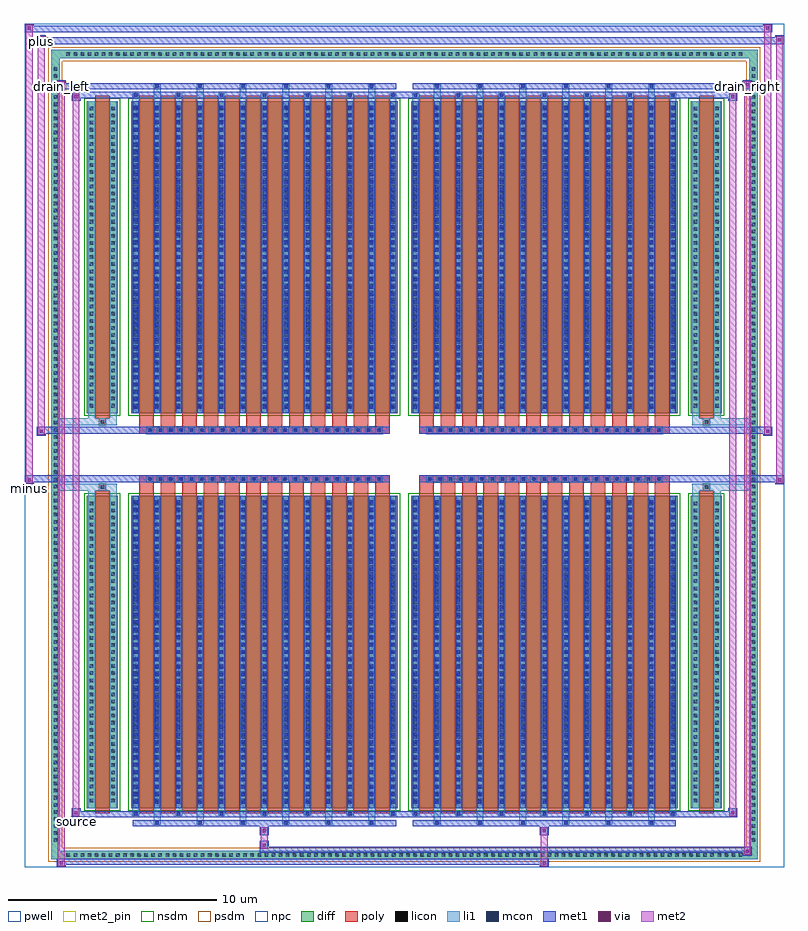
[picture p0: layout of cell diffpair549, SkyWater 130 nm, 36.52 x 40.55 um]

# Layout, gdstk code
import gdstk
lib = gdstk.Library(unit=1e-6, precision=5e-09)
def R(c, l, rs):  # rectangles x0, y0, x1, y1
    for r in rs: c.add(gdstk.rectangle(r[:2], r[2:], *l))
def A(c, l, x, y, w, h, nx, ny, dx, dy):  # array of equal rectangles
    R(c, l, [(x+i*dx, y+j*dy, x+i*dx+w, y+j*dy+h) for i in range(nx) for j in range(ny)])
def P(c, l, *ps):  # polygons
    for p in ps: c.add(gdstk.Polygon(p, *l))
pwell = (64, 44)
diff = (65, 20)
poly = (66, 20)
licon = (66, 44)
li1 = (67, 20)
mcon = (67, 44)
met1 = (68, 20)
via = (68, 44)
met2_pin = (69, 16)
met2 = (69, 20)
nsdm = (93, 44)
psdm = (94, 20)
npc = (95, 20)

diffpair549 = lib.new_cell('diffpair549')
R(diffpair549, pwell, [(-18.24,-19.84,18.24,20.71), (-15.56,-18.03,-0.01,-0.805), (0.01,-18.03,15.56,-0.805), (-15.56,0.805,-0.01,18.03), (0.01,0.805,15.56,18.03)])
A(diffpair549, diff, -16.355, -19.44, 0.41, 0.41, 96, 2, 0.34, 38.47)
A(diffpair549, diff, -16.97, -18.735, 0.41, 0.41, 1, 110, 0, 0.34)
A(diffpair549, diff, 16.56, -18.735, 0.41, 0.41, 1, 110, 0, 0.34)
R(diffpair549, diff, [(-16.355,-19.44,16.355,-19.03), (-16.97,-18.735,-16.56,18.735), (16.56,-18.735,16.97,18.735), (-15.25,-16.985,-13.77,-1.985), (-13.13,-16.985,-0.32,-1.985), (0.32,-16.985,13.13,-1.985), (13.77,-16.985,15.25,-1.985), (-15.25,1.985,-13.77,16.985), (-13.13,1.985,-0.32,16.985), (0.32,1.985,13.13,16.985), (13.77,1.985,15.25,16.985), (-16.355,19.03,16.355,19.44)])
P(diffpair549, diff, [(16.97,19.44),(-16.97,19.44),(-16.97,-19.03),(-16.56,-19.03),(-16.56,19.03),(16.56,19.03),(16.56,-19.03),(-16.56,-19.03),(-16.97,-19.03),(-16.97,-19.44),(16.97,-19.44)])
A(diffpair549, poly, -12.74, -17.235, 0.7, 15.5, 12, 2, 1.03, 18.97)
A(diffpair549, poly, 0.71, -17.235, 0.7, 15.5, 12, 2, 1.03, 18.97)
A(diffpair549, poly, -12.74, -1.735, 0.7, 0.4, 12, 2, 1.03, 3.07)
A(diffpair549, poly, 0.71, -1.735, 0.7, 0.4, 12, 2, 1.03, 3.07)
A(diffpair549, poly, -12.39, -1.335, 0.33, 0.33, 23, 2, 0.5, 2.34)
A(diffpair549, poly, 1.06, -1.335, 0.33, 0.33, 23, 2, 0.5, 2.34)
R(diffpair549, poly, [(-14.86,-17.235,-14.16,-1.735), (14.16,-17.235,14.86,-1.735), (-14.675,-1.735,-14.345,-1.405), (-14.675,-1.735,-14.345,-1.405), (14.345,-1.735,14.675,-1.405), (14.345,-1.735,14.675,-1.405), (-12.74,-1.335,-0.71,-1.005), (0.71,-1.335,12.74,-1.005), (-12.74,1.005,-0.71,1.335), (0.71,1.005,12.74,1.335), (-14.675,1.405,-14.345,1.735), (-14.675,1.405,-14.345,1.735), (14.345,1.405,14.675,1.735), (14.345,1.405,14.675,1.735), (-14.86,1.735,-14.16,17.235), (14.16,1.735,14.86,17.235)])
A(diffpair549, licon, -16.235, -19.32, 0.17, 0.17, 96, 2, 0.34, 38.47)
A(diffpair549, licon, -16.85, -18.615, 0.17, 0.17, 1, 110, 0, 0.34)
A(diffpair549, licon, 16.68, -18.615, 0.17, 0.17, 1, 110, 0, 0.34)
A(diffpair549, licon, -15.11, -16.71, 0.17, 0.17, 1, 43, 0, 0.34)
A(diffpair549, licon, -14.08, -16.71, 0.17, 0.17, 1, 43, 0, 0.34)
A(diffpair549, licon, -12.99, -16.71, 0.17, 0.17, 13, 43, 1.03, 0.34)
A(diffpair549, licon, 0.46, -16.71, 0.17, 0.17, 13, 43, 1.03, 0.34)
A(diffpair549, licon, 13.91, -16.71, 0.17, 0.17, 1, 43, 0, 0.34)
A(diffpair549, licon, 14.94, -16.71, 0.17, 0.17, 1, 43, 0, 0.34)
A(diffpair549, licon, -12.31, -1.255, 0.17, 0.17, 23, 2, 0.5, 2.34)
A(diffpair549, licon, 1.14, -1.255, 0.17, 0.17, 23, 2, 0.5, 2.34)
A(diffpair549, licon, -15.11, 2.26, 0.17, 0.17, 1, 43, 0, 0.34)
A(diffpair549, licon, -14.08, 2.26, 0.17, 0.17, 1, 43, 0, 0.34)
A(diffpair549, licon, -12.99, 2.26, 0.17, 0.17, 13, 43, 1.03, 0.34)
A(diffpair549, licon, 0.46, 2.26, 0.17, 0.17, 13, 43, 1.03, 0.34)
A(diffpair549, licon, 13.91, 2.26, 0.17, 0.17, 1, 43, 0, 0.34)
A(diffpair549, licon, 14.94, 2.26, 0.17, 0.17, 1, 43, 0, 0.34)
R(diffpair549, licon, [(-14.595,-1.655,-14.425,-1.485), (14.425,-1.655,14.595,-1.485), (-14.595,1.485,-14.425,1.655), (14.425,1.485,14.595,1.655)])
A(diffpair549, li1, -16.315, -19.4, 0.33, 0.33, 96, 2, 0.34, 38.47)
A(diffpair549, li1, -16.93, -18.695, 0.33, 0.33, 1, 110, 0, 0.34)
A(diffpair549, li1, 16.6, -18.695, 0.33, 0.33, 1, 110, 0, 0.34)
A(diffpair549, li1, -12.04, -17.79, 0.33, 0.805, 6, 2, 2.06, 34.775)
A(diffpair549, li1, -11.96, -17.79, 0.17, 0.17, 6, 2, 2.06, 35.41)
A(diffpair549, li1, 1.41, -17.79, 0.33, 0.805, 6, 2, 2.06, 34.775)
A(diffpair549, li1, 1.49, -17.79, 0.17, 0.17, 6, 2, 2.06, 35.41)
A(diffpair549, li1, -13.07, -17.36, 0.33, 0.375, 7, 2, 2.06, 34.345)
A(diffpair549, li1, -12.99, -17.36, 0.17, 0.17, 7, 2, 2.06, 34.55)
A(diffpair549, li1, 0.38, -17.36, 0.33, 0.375, 7, 2, 2.06, 34.345)
A(diffpair549, li1, 0.46, -17.36, 0.17, 0.17, 7, 2, 2.06, 34.55)
A(diffpair549, li1, -13.07, -16.985, 0.33, 15, 13, 2, 1.03, 18.97)
A(diffpair549, li1, 0.38, -16.985, 0.33, 15, 13, 2, 1.03, 18.97)
A(diffpair549, li1, -15.19, -16.79, 0.33, 0.33, 1, 43, 0, 0.34)
A(diffpair549, li1, -14.16, -16.79, 0.33, 0.33, 1, 43, 0, 0.34)
A(diffpair549, li1, -13.07, -16.79, 0.33, 0.33, 13, 43, 1.03, 0.34)
A(diffpair549, li1, 0.38, -16.79, 0.33, 0.33, 13, 43, 1.03, 0.34)
A(diffpair549, li1, 13.83, -16.79, 0.33, 0.33, 1, 43, 0, 0.34)
A(diffpair549, li1, 14.86, -16.79, 0.33, 0.33, 1, 43, 0, 0.34)
A(diffpair549, li1, -12.99, -16.77, 0.17, 0.17, 13, 41, 1.03, 0.36)
A(diffpair549, li1, -12.99, -16.77, 0.17, 14.57, 13, 2, 1.03, 18.97)
A(diffpair549, li1, 0.46, -16.77, 0.17, 0.17, 13, 41, 1.03, 0.36)
A(diffpair549, li1, 0.46, -16.77, 0.17, 14.57, 13, 2, 1.03, 18.97)
A(diffpair549, li1, -12.39, -1.335, 0.33, 0.33, 23, 2, 0.5, 2.34)
A(diffpair549, li1, 1.06, -1.335, 0.33, 0.33, 23, 2, 0.5, 2.34)
A(diffpair549, li1, -15.19, 2.18, 0.33, 0.33, 1, 43, 0, 0.34)
A(diffpair549, li1, -14.16, 2.18, 0.33, 0.33, 1, 43, 0, 0.34)
A(diffpair549, li1, -13.07, 2.18, 0.33, 0.33, 13, 43, 1.03, 0.34)
A(diffpair549, li1, 0.38, 2.18, 0.33, 0.33, 13, 43, 1.03, 0.34)
A(diffpair549, li1, 13.83, 2.18, 0.33, 0.33, 1, 43, 0, 0.34)
A(diffpair549, li1, 14.86, 2.18, 0.33, 0.33, 1, 43, 0, 0.34)
A(diffpair549, li1, -12.99, 2.2, 0.17, 0.17, 13, 41, 1.03, 0.36)
A(diffpair549, li1, 0.46, 2.2, 0.17, 0.17, 13, 41, 1.03, 0.36)
R(diffpair549, li1, [(-16.97,-19.44,-16.56,-19.03), (-16.97,-19.44,-16.56,-19.03), (-16.56,-19.44,16.56,-19.03), (16.56,-19.44,16.97,-19.03), (16.56,-19.44,16.97,-19.03), (-16.97,-19.03,-16.56,19.03), (16.56,-19.03,16.97,19.03), (-15.19,-16.985,-14.86,-1.985), (-14.16,-16.985,-13.83,-1.985), (13.83,-16.985,14.16,-1.985), (14.86,-16.985,15.19,-1.985), (-15.19,-1.985,-14.86,-1.405), (-14.16,-1.985,-13.83,-1.405), (13.83,-1.985,14.16,-1.405), (14.86,-1.985,15.19,-1.405), (-16.97,-1.735,-14.675,-1.405), (-15.19,-1.735,-14.675,-1.405), (-14.675,-1.735,-14.345,-1.405), (-14.345,-1.735,-13.83,-1.405), (13.83,-1.735,14.345,-1.405), (14.345,-1.735,14.675,-1.405), (14.345,-1.735,16.97,-1.405), (14.675,-1.735,15.19,-1.405), (-16.97,1.405,-14.675,1.735), (-15.19,1.405,-14.675,1.735), (-15.19,1.405,-14.86,1.985), (-14.675,1.405,-14.345,1.735), (-14.345,1.405,-13.83,1.735), (-14.16,1.405,-13.83,1.985), (13.83,1.405,14.345,1.735), (13.83,1.405,14.16,1.985), (14.345,1.405,14.675,1.735), (14.345,1.405,16.97,1.735), (14.675,1.405,15.19,1.735), (14.86,1.405,15.19,1.985), (-15.19,1.985,-14.86,16.985), (-14.16,1.985,-13.83,16.985), (13.83,1.985,14.16,16.985), (14.86,1.985,15.19,16.985), (-16.97,19.03,-16.56,19.44), (-16.97,19.03,-16.56,19.44), (-16.56,19.03,16.56,19.44), (16.56,19.03,16.97,19.44), (16.56,19.03,16.97,19.44)])
A(diffpair549, mcon, -11.96, -17.79, 0.17, 0.17, 6, 2, 2.06, 35.41)
A(diffpair549, mcon, 1.49, -17.79, 0.17, 0.17, 6, 2, 2.06, 35.41)
A(diffpair549, mcon, -12.99, -17.36, 0.17, 0.17, 7, 2, 2.06, 34.55)
A(diffpair549, mcon, 0.46, -17.36, 0.17, 0.17, 7, 2, 2.06, 34.55)
A(diffpair549, mcon, -12.99, -16.77, 0.17, 0.17, 13, 41, 1.03, 0.36)
A(diffpair549, mcon, 0.46, -16.77, 0.17, 0.17, 13, 41, 1.03, 0.36)
A(diffpair549, mcon, -12.31, -1.255, 0.17, 0.17, 23, 2, 0.5, 2.34)
A(diffpair549, mcon, 1.14, -1.255, 0.17, 0.17, 23, 2, 0.5, 2.34)
A(diffpair549, mcon, -12.99, 2.2, 0.17, 0.17, 13, 41, 1.03, 0.36)
A(diffpair549, mcon, 0.46, 2.2, 0.17, 0.17, 13, 41, 1.03, 0.36)
A(diffpair549, met1, -12.02, -17.85, 0.29, 0.29, 6, 2, 2.06, 35.41)
A(diffpair549, met1, 1.43, -17.85, 0.29, 0.29, 6, 2, 2.06, 35.41)
A(diffpair549, met1, -13.05, -17.42, 0.29, 0.29, 7, 2, 2.06, 34.55)
A(diffpair549, met1, 0.4, -17.42, 0.29, 0.29, 7, 2, 2.06, 34.55)
A(diffpair549, met1, -13.05, -16.985, 0.29, 15, 13, 2, 1.03, 18.97)
A(diffpair549, met1, 0.4, -16.985, 0.29, 15, 13, 2, 1.03, 18.97)
A(diffpair549, met1, -13.05, -16.83, 0.29, 0.29, 13, 41, 1.03, 0.36)
A(diffpair549, met1, 0.4, -16.83, 0.29, 0.29, 13, 41, 1.03, 0.36)
A(diffpair549, met1, -12.37, -1.315, 0.29, 0.29, 23, 2, 0.5, 2.34)
A(diffpair549, met1, 1.08, -1.315, 0.29, 0.29, 23, 2, 0.5, 2.34)
A(diffpair549, met1, -13.05, 2.14, 0.29, 0.29, 13, 41, 1.03, 0.36)
A(diffpair549, met1, 0.4, 2.14, 0.29, 0.29, 13, 41, 1.03, 0.36)
R(diffpair549, met1, [(-16.7,-19.84,-16.27,-19.41), (6.51,-19.84,6.94,-19.41), (-16.7,-19.7,6.94,-19.41), (16.27,-19.27,16.7,-18.84), (-6.94,-19.13,16.7,-18.84), (-6.94,-18.99,-6.51,-18.56), (-6.94,-18.28,-6.51,-17.85), (6.51,-18.28,6.94,-17.85), (-13.05,-17.85,-0.4,-17.56), (0.4,-17.85,13.05,-17.56), (-15.99,-17.42,-15.56,-16.99), (-15.99,-17.42,-13.05,-17.13), (-13.05,-17.42,-0.4,-17.13), (-0.4,-17.42,0.4,-17.13), (0.4,-17.42,13.05,-17.13), (13.05,-17.42,15.99,-17.13), (15.56,-17.42,15.99,-16.99), (-18.24,-1.435,-17.81,-1.005), (17.81,-1.435,18.24,-1.005), (-18.24,-1.335,-0.71,-1.005), (-12.74,-1.335,-0.71,-1.005), (0.71,-1.335,12.74,-1.005), (0.71,-1.335,18.24,-1.005), (-17.67,0.905,-17.24,1.335), (17.24,0.905,17.67,1.335), (-17.67,1.005,-12.74,1.335), (-12.74,1.005,-0.71,1.335), (0.71,1.005,12.74,1.335), (12.74,1.005,17.67,1.335), (-15.99,16.99,-15.56,17.42), (15.56,16.99,15.99,17.42), (-15.99,17.13,-13.05,17.42), (-13.05,17.13,-0.4,17.42), (-0.4,17.13,0.4,17.42), (0.4,17.13,13.05,17.42), (13.05,17.13,15.99,17.42), (-16.7,17.56,-16.27,17.99), (-16.7,17.56,-13.05,17.85), (-13.05,17.56,-0.4,17.85), (0.4,17.56,13.05,17.85), (13.05,17.56,16.7,17.85), (16.27,17.56,16.7,17.99), (-17.67,19.71,-17.24,20.14), (-17.67,19.71,-15.56,20.04), (-15.56,19.71,15.56,20.04), (15.56,19.71,18.24,20.04), (17.81,19.71,18.24,20.14), (-18.24,20.28,-17.81,20.71), (-18.24,20.28,-15.56,20.61), (-15.56,20.28,15.56,20.61), (15.56,20.28,17.67,20.61), (17.24,20.28,17.67,20.71)])
R(diffpair549, via, [(-16.56,-19.7,-16.41,-19.55), (6.65,-19.7,6.8,-19.55), (16.41,-19.13,16.56,-18.98), (-6.8,-18.85,-6.65,-18.7), (-6.8,-18.14,-6.65,-17.99), (6.65,-18.14,6.8,-17.99), (-15.85,-17.28,-15.7,-17.13), (15.7,-17.28,15.85,-17.13), (-18.1,-1.295,-17.95,-1.145), (17.95,-1.295,18.1,-1.145), (-17.53,1.045,-17.38,1.195), (17.38,1.045,17.53,1.195), (-15.85,17.13,-15.7,17.28), (15.7,17.13,15.85,17.28), (-16.56,17.7,-16.41,17.85), (16.41,17.7,16.56,17.85), (-17.53,19.85,-17.38,20), (17.95,19.85,18.1,20), (-18.1,20.42,-17.95,20.57), (17.38,20.42,17.53,20.57)])
R(diffpair549, met2_pin, [(-16.025,-17.87,-15.525,-17.37), (-18.275,-1.885,-17.775,-1.385), (-16.735,17.44,-16.235,17.94), (16.235,17.44,16.735,17.94), (-17.705,19.59,-17.205,20.09)])
R(diffpair549, met2, [(-16.65,-19.79,-16.32,-19.46), (-16.65,-19.79,-16.32,17.94), (6.56,-19.79,6.89,-19.46), (6.56,-19.46,6.89,-18.23), (16.32,-19.22,16.65,-18.89), (16.32,-19.22,16.65,17.94), (-6.89,-18.94,-6.56,-18.61), (-6.89,-18.61,-6.56,-18.23), (-6.89,-18.23,-6.56,-17.9), (6.56,-18.23,6.89,-17.9), (-15.94,-17.37,-15.61,-17.04), (-15.94,-17.37,-15.61,17.37), (15.61,-17.37,15.94,-17.04), (15.61,-17.37,15.94,17.37), (-18.19,-1.385,-17.86,-1.055), (-18.19,-1.385,-17.86,20.66), (17.86,-1.385,18.19,-1.055), (17.86,-1.385,18.19,20.09), (-17.62,0.955,-17.29,1.285), (-17.62,0.955,-17.29,20.09), (17.29,0.955,17.62,1.285), (17.29,0.955,17.62,20.66), (-15.94,17.04,-15.61,17.37), (15.61,17.04,15.94,17.37), (-16.65,17.61,-16.32,17.94), (16.32,17.61,16.65,17.94), (-17.62,19.76,-17.29,20.09), (17.86,19.76,18.19,20.09), (-18.19,20.33,-17.86,20.66), (17.29,20.33,17.62,20.66)])
P(diffpair549, met2, [(18.19,-1.385),(18.19,-1.385),(18.19,-1.055),(18.19,-1.055)],
  [(18.19,19.76),(18.19,19.76),(18.19,20.09),(18.19,20.09)],
  [(-17.86,-1.385),(-17.86,-1.385),(-17.86,-1.055),(-17.86,-1.055)],
  [(-17.86,20.33),(-17.86,20.33),(-17.86,20.66),(-17.86,20.66)],
  [(17.62,0.955),(17.62,0.955),(17.62,1.285),(17.62,1.285)],
  [(17.62,20.33),(17.62,20.33),(17.62,20.66),(17.62,20.66)],
  [(-17.29,0.955),(-17.29,0.955),(-17.29,1.285),(-17.29,1.285)],
  [(-17.29,19.76),(-17.29,19.76),(-17.29,20.09),(-17.29,20.09)],
  [(-16.32,-19.79),(-16.32,-19.79),(-16.32,-19.46),(-16.32,-19.46)],
  [(-16.32,17.61),(-16.32,17.61),(-16.32,17.94),(-16.32,17.94)],
  [(16.65,-19.22),(16.65,-19.22),(16.65,-18.89),(16.65,-18.89)],
  [(16.65,17.61),(16.65,17.61),(16.65,17.94),(16.65,17.94)],
  [(-15.61,-17.37),(-15.61,-17.37),(-15.61,-17.04),(-15.61,-17.04)],
  [(-15.61,17.04),(-15.61,17.04),(-15.61,17.37),(-15.61,17.37)],
  [(15.94,-17.37),(15.94,-17.37),(15.94,-17.04),(15.94,-17.04)],
  [(15.94,17.04),(15.94,17.04),(15.94,17.37),(15.94,17.37)])
R(diffpair549, nsdm, [(-15.38,-17.115,-13.64,-1.855), (-13.26,-17.115,-0.19,-1.855), (0.19,-17.115,13.26,-1.855), (13.64,-17.115,15.38,-1.855), (-15.38,1.855,-13.64,17.115), (-13.26,1.855,-0.19,17.115), (0.19,1.855,13.26,17.115), (13.64,1.855,15.38,17.115)])
P(diffpair549, psdm, [(17.1,19.57),(-17.1,19.57),(-17.1,-18.9),(-16.43,-18.9),(-16.43,18.9),(16.43,18.9),(16.43,-18.9),(-16.43,-18.9),(-17.1,-18.9),(-17.1,-19.57),(17.1,-19.57)])
A(diffpair549, npc, -12.41, -1.355, 0.37, 0.37, 23, 2, 0.5, 2.34)
A(diffpair549, npc, 1.04, -1.355, 0.37, 0.37, 23, 2, 0.5, 2.34)
R(diffpair549, npc, [(-14.695,-1.755,-14.325,-1.385), (14.325,-1.755,14.695,-1.385), (-12.41,-1.355,-11.54,-0.985), (-12.41,-1.355,-11.54,-0.985), (-11.91,-1.355,-11.04,-0.985), (-11.91,-1.355,-11.04,-0.985), (-11.41,-1.355,-10.54,-0.985), (-11.41,-1.355,-10.54,-0.985), (-10.91,-1.355,-10.04,-0.985), (-10.91,-1.355,-10.04,-0.985), (-10.41,-1.355,-9.54,-0.985), (-10.41,-1.355,-9.54,-0.985), (-9.91,-1.355,-9.04,-0.985), (-9.91,-1.355,-9.04,-0.985), (-9.41,-1.355,-8.54,-0.985), (-9.41,-1.355,-8.54,-0.985), (-8.91,-1.355,-8.04,-0.985), (-8.91,-1.355,-8.04,-0.985), (-8.41,-1.355,-7.54,-0.985), (-8.41,-1.355,-7.54,-0.985), (-7.91,-1.355,-7.04,-0.985), (-7.91,-1.355,-7.04,-0.985), (-7.41,-1.355,-6.54,-0.985), (-7.41,-1.355,-6.54,-0.985), (-6.91,-1.355,-6.04,-0.985), (-6.91,-1.355,-6.04,-0.985), (-6.41,-1.355,-5.54,-0.985), (-6.41,-1.355,-5.54,-0.985), (-5.91,-1.355,-5.04,-0.985), (-5.91,-1.355,-5.04,-0.985), (-5.41,-1.355,-4.54,-0.985), (-5.41,-1.355,-4.54,-0.985), (-4.91,-1.355,-4.04,-0.985), (-4.91,-1.355,-4.04,-0.985), (-4.41,-1.355,-3.54,-0.985), (-4.41,-1.355,-3.54,-0.985), (-3.91,-1.355,-3.04,-0.985), (-3.91,-1.355,-3.04,-0.985), (-3.41,-1.355,-2.54,-0.985), (-3.41,-1.355,-2.54,-0.985), (-2.91,-1.355,-2.04,-0.985), (-2.91,-1.355,-2.04,-0.985), (-2.41,-1.355,-1.54,-0.985), (-2.41,-1.355,-1.54,-0.985), (-1.91,-1.355,-1.04,-0.985), (-1.91,-1.355,-1.04,-0.985), (1.04,-1.355,1.91,-0.985), (1.04,-1.355,1.91,-0.985), (1.54,-1.355,2.41,-0.985), (1.54,-1.355,2.41,-0.985), (2.04,-1.355,2.91,-0.985), (2.04,-1.355,2.91,-0.985), (2.54,-1.355,3.41,-0.985), (2.54,-1.355,3.41,-0.985), (3.04,-1.355,3.91,-0.985), (3.04,-1.355,3.91,-0.985), (3.54,-1.355,4.41,-0.985), (3.54,-1.355,4.41,-0.985), (4.04,-1.355,4.91,-0.985), (4.04,-1.355,4.91,-0.985), (4.54,-1.355,5.41,-0.985), (4.54,-1.355,5.41,-0.985), (5.04,-1.355,5.91,-0.985), (5.04,-1.355,5.91,-0.985), (5.54,-1.355,6.41,-0.985), (5.54,-1.355,6.41,-0.985), (6.04,-1.355,6.91,-0.985), (6.04,-1.355,6.91,-0.985), (6.54,-1.355,7.41,-0.985), (6.54,-1.355,7.41,-0.985), (7.04,-1.355,7.91,-0.985), (7.04,-1.355,7.91,-0.985), (7.54,-1.355,8.41,-0.985), (7.54,-1.355,8.41,-0.985), (8.04,-1.355,8.91,-0.985), (8.04,-1.355,8.91,-0.985), (8.54,-1.355,9.41,-0.985), (8.54,-1.355,9.41,-0.985), (9.04,-1.355,9.91,-0.985), (9.04,-1.355,9.91,-0.985), (9.54,-1.355,10.41,-0.985), (9.54,-1.355,10.41,-0.985), (10.04,-1.355,10.91,-0.985), (10.04,-1.355,10.91,-0.985), (10.54,-1.355,11.41,-0.985), (10.54,-1.355,11.41,-0.985), (11.04,-1.355,11.91,-0.985), (11.04,-1.355,11.91,-0.985), (11.54,-1.355,12.41,-0.985), (11.54,-1.355,12.41,-0.985), (-12.41,0.985,-11.54,1.355), (-12.41,0.985,-11.54,1.355), (-11.91,0.985,-11.04,1.355), (-11.91,0.985,-11.04,1.355), (-11.41,0.985,-10.54,1.355), (-11.41,0.985,-10.54,1.355), (-10.91,0.985,-10.04,1.355), (-10.91,0.985,-10.04,1.355), (-10.41,0.985,-9.54,1.355), (-10.41,0.985,-9.54,1.355), (-9.91,0.985,-9.04,1.355), (-9.91,0.985,-9.04,1.355), (-9.41,0.985,-8.54,1.355), (-9.41,0.985,-8.54,1.355), (-8.91,0.985,-8.04,1.355), (-8.91,0.985,-8.04,1.355), (-8.41,0.985,-7.54,1.355), (-8.41,0.985,-7.54,1.355), (-7.91,0.985,-7.04,1.355), (-7.91,0.985,-7.04,1.355), (-7.41,0.985,-6.54,1.355), (-7.41,0.985,-6.54,1.355), (-6.91,0.985,-6.04,1.355), (-6.91,0.985,-6.04,1.355), (-6.41,0.985,-5.54,1.355), (-6.41,0.985,-5.54,1.355), (-5.91,0.985,-5.04,1.355), (-5.91,0.985,-5.04,1.355), (-5.41,0.985,-4.54,1.355), (-5.41,0.985,-4.54,1.355), (-4.91,0.985,-4.04,1.355), (-4.91,0.985,-4.04,1.355), (-4.41,0.985,-3.54,1.355), (-4.41,0.985,-3.54,1.355), (-3.91,0.985,-3.04,1.355), (-3.91,0.985,-3.04,1.355), (-3.41,0.985,-2.54,1.355), (-3.41,0.985,-2.54,1.355), (-2.91,0.985,-2.04,1.355), (-2.91,0.985,-2.04,1.355), (-2.41,0.985,-1.54,1.355), (-2.41,0.985,-1.54,1.355), (-1.91,0.985,-1.04,1.355), (-1.91,0.985,-1.04,1.355), (1.04,0.985,1.91,1.355), (1.04,0.985,1.91,1.355), (1.54,0.985,2.41,1.355), (1.54,0.985,2.41,1.355), (2.04,0.985,2.91,1.355), (2.04,0.985,2.91,1.355), (2.54,0.985,3.41,1.355), (2.54,0.985,3.41,1.355), (3.04,0.985,3.91,1.355), (3.04,0.985,3.91,1.355), (3.54,0.985,4.41,1.355), (3.54,0.985,4.41,1.355), (4.04,0.985,4.91,1.355), (4.04,0.985,4.91,1.355), (4.54,0.985,5.41,1.355), (4.54,0.985,5.41,1.355), (5.04,0.985,5.91,1.355), (5.04,0.985,5.91,1.355), (5.54,0.985,6.41,1.355), (5.54,0.985,6.41,1.355), (6.04,0.985,6.91,1.355), (6.04,0.985,6.91,1.355), (6.54,0.985,7.41,1.355), (6.54,0.985,7.41,1.355), (7.04,0.985,7.91,1.355), (7.04,0.985,7.91,1.355), (7.54,0.985,8.41,1.355), (7.54,0.985,8.41,1.355), (8.04,0.985,8.91,1.355), (8.04,0.985,8.91,1.355), (8.54,0.985,9.41,1.355), (8.54,0.985,9.41,1.355), (9.04,0.985,9.91,1.355), (9.04,0.985,9.91,1.355), (9.54,0.985,10.41,1.355), (9.54,0.985,10.41,1.355), (10.04,0.985,10.91,1.355), (10.04,0.985,10.91,1.355), (10.54,0.985,11.41,1.355), (10.54,0.985,11.41,1.355), (11.04,0.985,11.91,1.355), (11.04,0.985,11.91,1.355), (11.54,0.985,12.41,1.355), (11.54,0.985,12.41,1.355), (-14.695,1.385,-14.325,1.755), (14.325,1.385,14.695,1.755)])
diffpair549.add(gdstk.Label('minus', (-18.025,-1.635), layer=69, texttype=5))
diffpair549.add(gdstk.Label('drain_right', (16.485,17.69), layer=69, texttype=5))
diffpair549.add(gdstk.Label('drain_left', (-16.485,17.69), layer=69, texttype=5))
diffpair549.add(gdstk.Label('source', (-15.775,-17.62), layer=69, texttype=5))
diffpair549.add(gdstk.Label('plus', (-17.455,19.84), layer=69, texttype=5))

lib.write_gds('diffpair549.gds')
